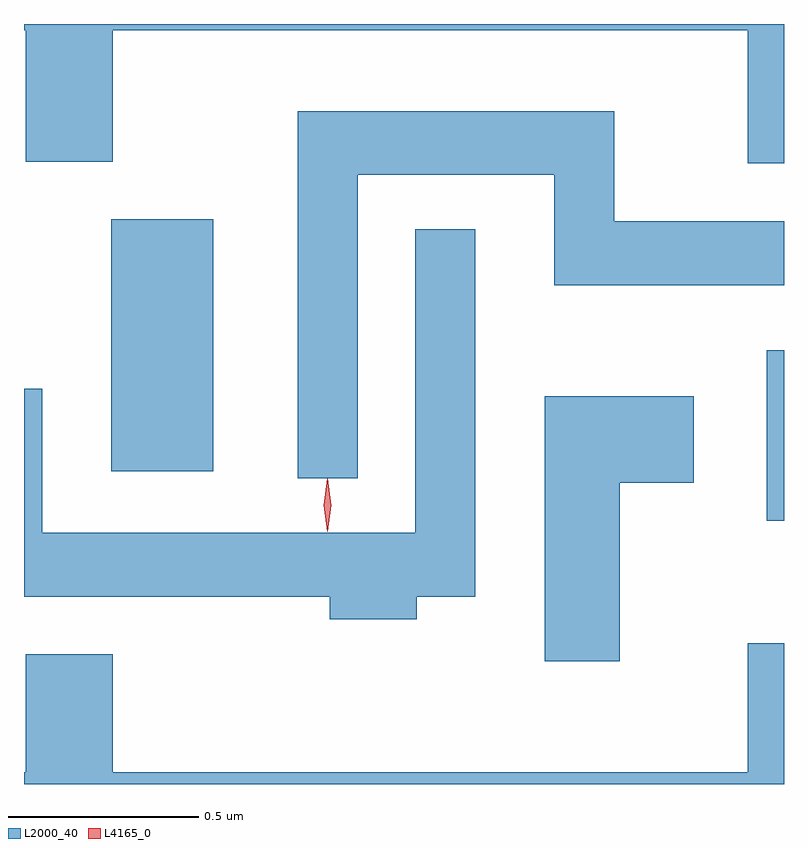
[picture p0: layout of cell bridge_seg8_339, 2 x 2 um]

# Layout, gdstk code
import gdstk
lib = gdstk.Library(unit=1e-6, precision=1e-09)
def R(c, l, rs):  # rectangles x0, y0, x1, y1
    for r in rs: c.add(gdstk.rectangle(r[:2], r[2:], *l))
def P(c, l, *ps):  # polygons
    for p in ps: c.add(gdstk.Polygon(p, *l))
L2000_40 = (2000, 40)
L4165_0 = (4165, 0)

bridge_seg8_339 = lib.new_cell('bridge_seg8_339')
R(bridge_seg8_339, L2000_40, [(874.851,1886.186,874.896,1886.634), (873.126,1886.316,873.394,1886.979)])
P(bridge_seg8_339, L2000_40, [(874.896,1887.493),(872.896,1887.493),(872.896,1887.476),(872.901,1887.476),(872.901,1887.131),(873.129,1887.131),(873.129,1887.476),(874.801,1887.476),(874.801,1887.126),(874.896,1887.126)],
  [(873.774,1887.096),(874.291,1887.096),(874.291,1886.806),(874.896,1886.806),(874.896,1886.974),(874.449,1886.974),(874.449,1887.264),(873.616,1887.264),(873.616,1886.298),(873.774,1886.298)],
  [(873.929,1885.986),(874.084,1885.986),(874.084,1886.953),(873.926,1886.953),(873.926,1886.154),(872.944,1886.154),(872.944,1886.533),(872.896,1886.533),(872.896,1885.986),(873.701,1885.986),(873.701,1885.926),(873.929,1885.926)],
  [(874.464,1886.286),(874.659,1886.286),(874.659,1886.514),(874.266,1886.514),(874.266,1885.816),(874.464,1885.816)],
  [(874.896,1885.864),(874.801,1885.864),(874.801,1885.524),(873.129,1885.524),(873.129,1885.834),(872.901,1885.834),(872.901,1885.524),(872.896,1885.524),(872.896,1885.493),(874.896,1885.493)])
P(bridge_seg8_339, L4165_0, [(873.694,1886.157),(873.694,1886.158),(873.685,1886.227),(873.694,1886.296),(873.695,1886.296),(873.695,1886.296),(873.705,1886.227),(873.695,1886.158)],
  [(873.695,1886.159),(873.694,1886.16),(873.685,1886.226),(873.694,1886.292),(873.695,1886.293),(873.695,1886.292),(873.705,1886.226),(873.695,1886.16)])

lib.write_gds('bridge_seg8_339.gds')
